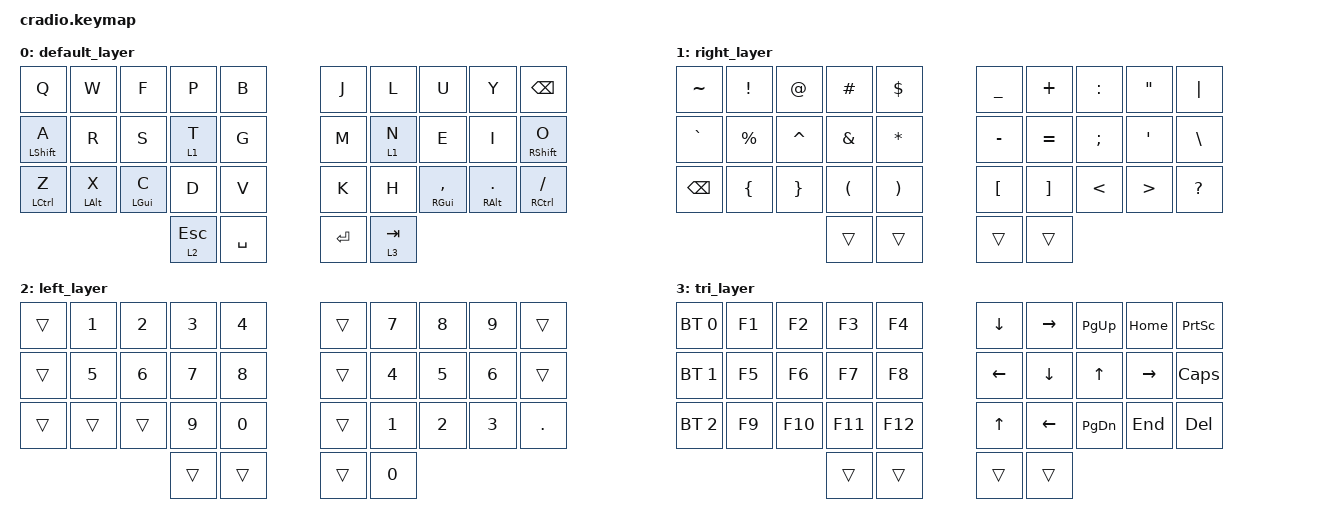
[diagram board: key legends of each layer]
// Copyright (c) 2022 The ZMK Contributors
// SPDX-License-Identifier: MIT

#include <behaviors.dtsi>
#include <dt-bindings/zmk/bt.h>
#include <dt-bindings/zmk/keys.h>

// Home row mods macro good

#define HRML(k1,k2,k3,k4) &ht LSHFT k1  &kp k2  &lt 2 k3  &lt 1 k4
#define HRMR(k1,k2,k3,k4) &lt 1 k1  &lt 2 k2  &kp k3  &ht RSHFT k4

#//#define HRML(k1,k2,k3,k4,k5) &ht LSHFT k1  &ht LCTRL k2  &ht LALT k3  &ht LGUI k4 &lt 2 k5
#//#define HRMR(k1,k2,k3,k4,k5) &lt 2 k1 &ht RGUI k2  &ht RALT k3  &ht RCTRL k4  &ht RSHFT k5
#define HRML3(k1,k2,k3) &ht LCTRL k1  &ht LALT k2  &ht LGUI k3
#define HRMR3(k1,k2,k3) &ht RGUI k1  &ht RALT k2  &ht RCTRL k3

/ {
    behaviors {
        ht: hold_tap {
            compatible = "zmk,behavior-hold-tap";
            #binding-cells = <2>;
            flavor = "tap-preferred";
            tapping-term-ms = <220>;
            quick-tap-ms = <150>;
            require-prior-idle-ms = <100>;
            bindings = <&kp>, <&kp>;
        };

        tog_on: toggle_layer_on_only {
            compatible = "zmk,behavior-toggle-layer";
            #binding-cells = <1>;
            display-name = "Toggle Layer On";
            toggle-mode = "on";
        };
    };

    //    conditional_layers {
    //        compatible = "zmk,conditional-layers";
    //        tri_layer {
    //            if-layers = <1 2>;
    //            then-layer = <3>;
    //        };
    //    };

    combos {
        compatible = "zmk,combos";

        combo_enter {
            timeout-ms = <50>;
            key-positions = <16 17>;
            bindings = <&kp ENTER>;
        };

        combo_tog3 {
            timeout-ms = <50>;
            key-positions = <7 27>;
            bindings = <&tog 3>;
        };

        combo_minus {
            bindings = <&kp MINUS>;
            key-positions = <15 16>;
        };

        combo_colon {
            bindings = <&kp COLON>;
            key-positions = <7 8>;
        };

        combo_semi {
            bindings = <&kp SEMI>;
            key-positions = <17 18>;
        };

        combo_dqt {
            bindings = <&kp DQT>;
            key-positions = <8 9>;
        };

        combo_under {
            bindings = <&kp UNDER>;
            key-positions = <5 6>;
        };

        combo_sqt {
            bindings = <&kp SQT>;
            key-positions = <18 19>;
        };

        combo_pipe {
            bindings = <&kp PIPE>;
            key-positions = <19 9>;
        };

        combo_qmark {
            bindings = <&kp QMARK>;
            key-positions = <19 29>;
        };
    };

    keymap {
        compatible = "zmk,keymap";

        default_layer {
            bindings = <
&kp Q             &kp W           &kp F       &kp P      &kp B        &kp J      &kp L      &kp U                &kp Y                 &kp BSPC
&ht LEFT_SHIFT A  &kp R           &kp S       &lt 1 T    &kp G        &kp M      &lt 1 N    &kp E                &kp I                 &ht RSHFT O
&ht LCTRL Z       &ht LEFT_ALT X  &ht LGUI C  &kp D      &kp V        &kp K      &kp H      &ht RIGHT_GUI COMMA  &ht RIGHT_ALT PERIOD  &ht RCTRL SLASH
                                              &lt 2 ESC  &kp SPACE    &kp ENTER  &lt 3 TAB
            >;
        };

        right_layer {
            bindings = <
&kp TILDE  &kp EXCL   &kp AT     &kp POUND  &kp DLLR    &kp UNDER  &kp PLUS   &kp COLON  &kp DQT  &kp PIPE
&kp GRAVE  &kp PRCNT  &kp CARET  &kp AMPS   &kp STAR    &kp MINUS  &kp EQUAL  &kp SEMI   &kp SQT  &kp BSLH
&kp BSPC   &kp LBRC   &kp RBRC   &kp LPAR   &kp RPAR    &kp LBKT   &kp RBKT   &kp LT     &kp GT   &kp QMARK
                                 &trans     &trans      &trans     &trans
            >;
        };

        left_layer {
            bindings = <
&trans  &kp N1  &kp N2  &kp N3  &kp N4    &trans  &kp N7  &kp N8  &kp N9  &trans
&trans  &kp N5  &kp N6  &kp N7  &kp N8    &trans  &kp N4  &kp N5  &kp N6  &trans
&trans  &trans  &trans  &kp N9  &kp N0    &trans  &kp N1  &kp N2  &kp N3  &kp DOT
                        &trans  &trans    &trans  &kp N0
            >;
        };

        tri_layer {
            bindings = <
&bt BT_SEL 0  &kp F1  &kp F2   &kp F3   &kp F4     &kp DOWN  &kp RIGHT  &kp PG_UP  &kp HOME   &kp PSCRN
&bt BT_SEL 1  &kp F5  &kp F6   &kp F7   &kp F8     &kp LEFT  &kp DOWN   &kp UP     &kp RIGHT  &kp CAPS
&bt BT_SEL 2  &kp F9  &kp F10  &kp F11  &kp F12    &kp UP    &kp LEFT   &kp PG_DN  &kp END    &kp DEL
                               &trans   &trans     &trans    &trans
            >;
        };
    };
};
